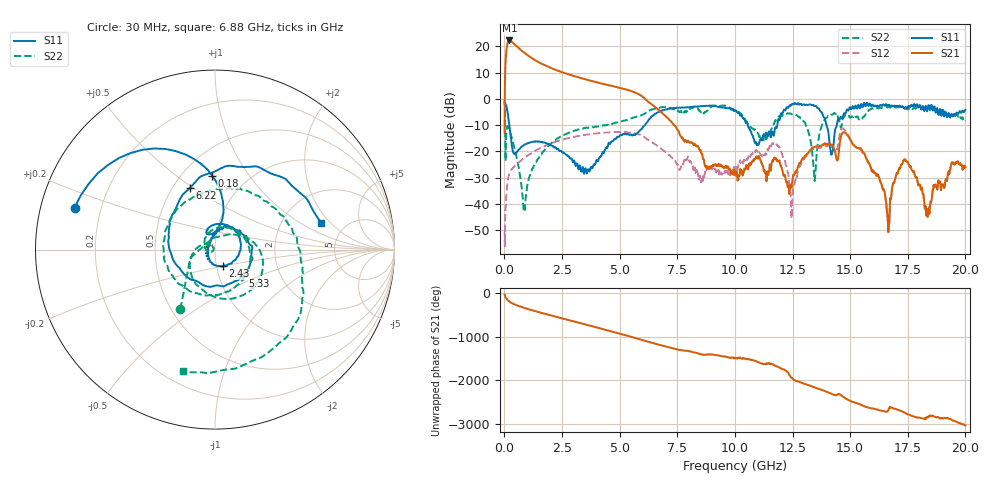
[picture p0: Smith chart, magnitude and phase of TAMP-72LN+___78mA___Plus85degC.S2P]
! Mini-Circuits
! S2P DATA File Format
! Unit Family Type: Amplifier
! MCL Part No: TAMP-72LN+
! Note: All S Parameters are in dB deg format
! The Unit was tested at +85 °C
# MHz S DB R 50
!  FREQ  dB(S11)  PHS(S11)  dB(S21)  PHS(S21)  dB(S12)  PHS(S12)  dB(S22)  PHS(S22)
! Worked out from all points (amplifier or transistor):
!   1601 points, 10 MHz to 20 GHz, reference 50 ohm
!   highest |S21| = 22.2 dB at 220 MHz (marker M1)
!   |S21| within 3 dB of that: 99.59 MHz to 632.5 MHz (532.9 MHz wide, 146 % of centre)
!   unconditionally stable (mu >= 1): start of sweep to end of sweep
!   at 2.67 GHz: K = 1.17, MAG = 9.9 dB, |S12| = -15.1 dB
!   at 8.01 GHz: K = 15.65, MAG = -11.4 dB, |S12| = -23.4 dB
!   at 20 GHz: K = 104.70, MAG = -23.3 dB, |S12| = -25.9 dB
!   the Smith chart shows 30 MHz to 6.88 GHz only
!   S11 on the Smith chart (normalised r, x): 30 MHz: 0.10, +0.15; 180 MHz: 0.69, +0.69; 2.43 GHz: 1.07, -0.20; 5.33 GHz: 1.30, -0.40; 6.22 GHz: 0.61, +0.49; 6.88 GHz: 3.32, +1.56
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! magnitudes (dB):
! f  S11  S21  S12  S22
! 10 MHz  -1.6  -12.9  -49.8  -0.2
! 30 MHz  -1.8  8.9  -48.0  -8.3
! 180 MHz  -7.7  22.0  -29.6  -10.8
! 220 MHz  -10.6  22.2  -28.2  -11.8
! 860 MHz  -17.5  17.5  -22.5  -42.0
! 2.43 GHz  -19.8  10.3  -15.8  -14.4
! 3.35 GHz  -27.5  7.8  -13.9  -11.4
! 5.33 GHz  -13.4  3.4  -12.8  -8.1
! 6.22 GHz  -8.6  -1.0  -15.6  -4.8
! 6.68 GHz  -5.1  -4.1  -18.2  -3.5
! 6.88 GHz  -4.3  -5.7  -19.5  -3.1
! 10.01 GHz  -4.4  -28.1  -26.9  -4.3
! 10.95 GHz  -17.5  -22.3  -19.9  -12.8
! 11.75 GHz  -10.9  -22.9  -16.9  -8.3
! 12.52 GHz  -1.9  -29.5  -34.8  -5.8
! 13.34 GHz  -2.4  -18.8  -19.2  -19.4
! 14.18 GHz  -21.3  -17.5  -18.2  -6.0
! 14.76 GHz  -5.5  -12.8  -11.8  -6.5
! 16.68 GHz  -2.3  -47.2  -45.9  -2.9
! 17.36 GHz  -3.5  -23.0  -23.1  -3.7
! 18.38 GHz  -3.0  -41.8  -41.9  -3.8
! 20 GHz  -4.2  -26.0  -25.9  -8.2
